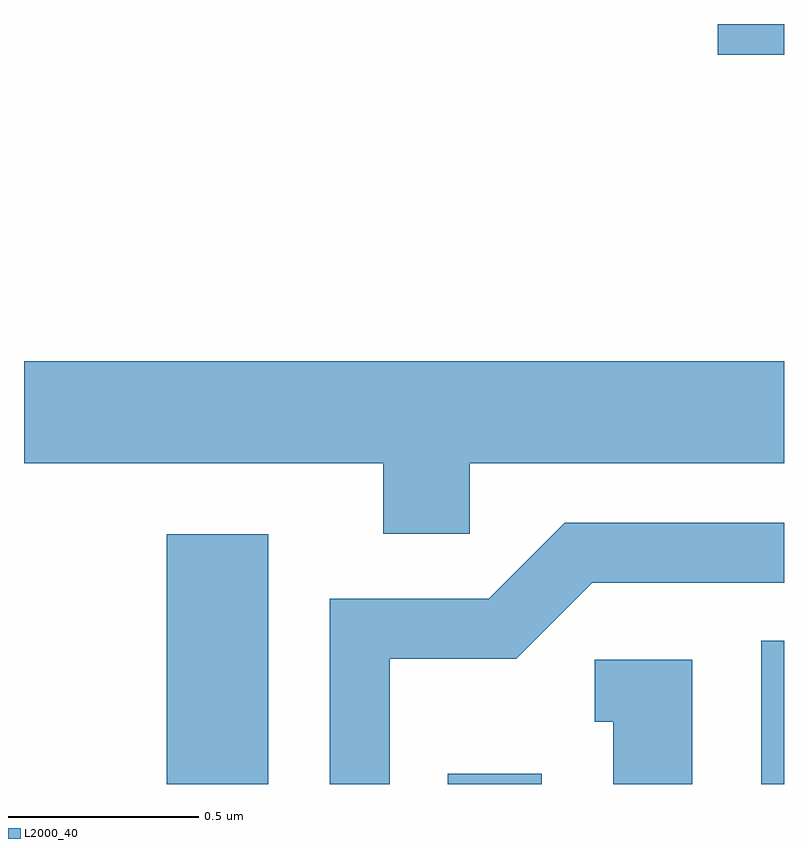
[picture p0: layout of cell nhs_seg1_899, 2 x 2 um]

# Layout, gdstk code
import gdstk
lib = gdstk.Library(unit=1e-6, precision=1e-09)
def R(c, l, rs):  # rectangles x0, y0, x1, y1
    for r in rs: c.add(gdstk.rectangle(r[:2], r[2:], *l))
def P(c, l, *ps):  # polygons
    for p in ps: c.add(gdstk.Polygon(p, *l))
L2000_40 = (2000, 40)

nhs_seg1_899 = lib.new_cell('nhs_seg1_899')
R(nhs_seg1_899, L2000_40, [(191.986,918.712,192.254,919.369), (192.726,918.712,192.974,918.739), (193.551,918.712,193.611,919.089), (193.436,920.631,193.611,920.712)])
P(nhs_seg1_899, L2000_40, [(192.784,919.556),(193.611,919.556),(193.611,919.824),(191.611,919.824),(191.611,919.556),(192.556,919.556),(192.556,919.371),(192.784,919.371)],
  [(192.574,919.041),(192.907,919.041),(193.107,919.241),(193.611,919.241),(193.611,919.399),(193.034,919.399),(192.834,919.199),(192.416,919.199),(192.416,918.712),(192.574,918.712)],
  [(193.369,919.039),(193.113,919.039),(193.113,918.876),(193.161,918.876),(193.161,918.712),(193.369,918.712)])

lib.write_gds('nhs_seg1_899.gds')
